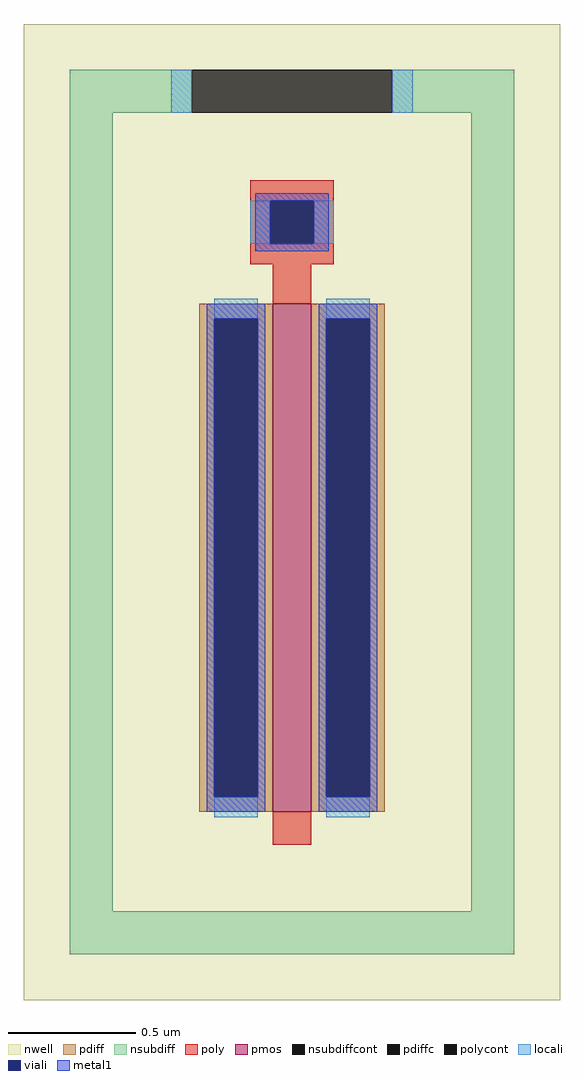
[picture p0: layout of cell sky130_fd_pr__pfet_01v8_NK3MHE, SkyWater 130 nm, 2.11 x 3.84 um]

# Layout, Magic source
magic
tech sky130A
magscale 1 2
<< nwell >>
rect -211 -384 211 384
<< pmos >>
rect -15 -236 15 164
<< pdiff >>
rect -73 152 -15 164
rect -73 -224 -61 152
rect -27 -224 -15 152
rect -73 -236 -15 -224
rect 15 152 73 164
rect 15 -224 27 152
rect 61 -224 73 152
rect 15 -236 73 -224
<< pdiffc >>
rect -61 -224 -27 152
rect 27 -224 61 152
<< nsubdiff >>
rect -175 314 -79 348
rect 79 314 175 348
rect -175 -314 -141 314
rect 141 -314 175 314
rect -175 -348 175 -314
<< nsubdiffcont >>
rect -79 314 79 348
<< poly >>
rect -33 245 33 261
rect -33 211 -17 245
rect 17 211 33 245
rect -33 195 33 211
rect -15 164 15 195
rect -15 -262 15 -236
<< polycont >>
rect -17 211 17 245
<< locali >>
rect -95 314 -79 348
rect 79 314 95 348
rect -33 211 -17 245
rect 17 211 33 245
rect -61 152 -27 168
rect -61 -240 -27 -224
rect 27 152 61 168
rect 27 -240 61 -224
<< viali >>
rect -17 211 17 245
rect -61 -224 -27 152
rect 27 -224 61 152
<< metal1 >>
rect -29 245 29 251
rect -29 211 -17 245
rect 17 211 29 245
rect -29 205 29 211
rect -67 152 -21 164
rect -67 -224 -61 152
rect -27 -224 -21 152
rect -67 -236 -21 -224
rect 21 152 67 164
rect 21 -224 27 152
rect 61 -224 67 152
rect 21 -236 67 -224
<< properties >>
string FIXED_BBOX -158 -331 158 331
string gencell sky130_fd_pr__pfet_01v8
string library sky130
string parameters w 2.0 l 0.15 m 1 nf 1 diffcov 100 polycov 100 guard 1 glc 0 grc 0 gtc 1 gbc 0 tbcov 100 rlcov 100 topc 1 botc 0 poverlap 0 doverlap 1 lmin 0.15 wmin 0.42 compatible {sky130_fd_pr__pfet_01v8  sky130_fd_pr__pfet_01v8_lvt sky130_fd_pr__pfet_01v8_hvt  sky130_fd_pr__pfet_g5v0d10v5} full_metal 0 viasrc 100 viadrn 100 viagate 100 viagb 0 viagr 0 viagl 0 viagt 0
<< end >>
